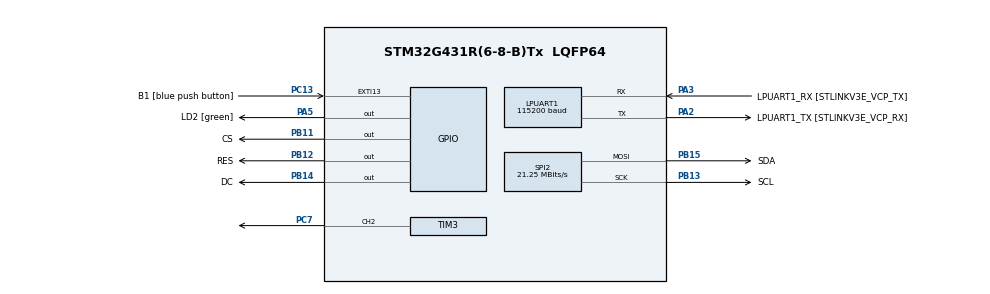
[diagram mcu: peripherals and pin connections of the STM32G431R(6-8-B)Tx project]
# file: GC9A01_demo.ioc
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Dma.Request0=SPI2_TX
Dma.SPI2_TX.0.Direction=DMA_MEMORY_TO_PERIPH
Dma.SPI2_TX.0.EventEnable=DISABLE
Dma.SPI2_TX.0.Instance=DMA1_Channel1
Dma.SPI2_TX.0.MemDataAlignment=DMA_MDATAALIGN_HALFWORD
Dma.SPI2_TX.0.MemInc=DMA_MINC_ENABLE
Dma.SPI2_TX.0.Mode=DMA_NORMAL
Dma.SPI2_TX.0.PeriphDataAlignment=DMA_PDATAALIGN_HALFWORD
Dma.SPI2_TX.0.PeriphInc=DMA_PINC_DISABLE
Dma.SPI2_TX.0.Polarity=HAL_DMAMUX_REQ_GEN_RISING
Dma.SPI2_TX.0.Priority=DMA_PRIORITY_LOW
Dma.SPI2_TX.0.RequestNumber=1
Dma.SPI2_TX.0.SignalID=NONE
Dma.SPI2_TX.0.SyncEnable=DISABLE
Dma.SPI2_TX.0.SyncPolarity=HAL_DMAMUX_SYNC_NO_EVENT
Dma.SPI2_TX.0.SyncRequestNumber=1
Dma.SPI2_TX.0.SyncSignalID=NONE
LPUART1.BaudRate=115200
LPUART1.WordLength=UART_WORDLENGTH_8B
Mcu.Family=STM32G4
Mcu.Name=STM32G431R(6-8-B)Tx
Mcu.Package=LQFP64
NVIC.DMA1_Channel1_IRQn=true\:0\:0\:false\:false\:true\:false\:true
NVIC.PriorityGroup=NVIC_PRIORITYGROUP_4
PA13.GPIO_Label=T_SWDIO
PA13.Mode=Serial_Wire
PA13.Signal=SYS_JTMS-SWDIO
PA14.GPIO_Label=T_SWCLK
PA14.Mode=Serial_Wire
PA14.Signal=SYS_JTCK-SWCLK
PA2.GPIO_Label=LPUART1_TX [STLINKV3E_VCP_RX]
PA2.Mode=Asynchronous
PA2.Signal=LPUART1_TX
PA3.GPIO_Label=LPUART1_RX [STLINKV3E_VCP_TX]
PA3.Mode=Asynchronous
PA3.Signal=LPUART1_RX
PA5.GPIO_Label=LD2 [green]
PA5.Signal=GPIO_Output
PB11.GPIO_Label=CS
PB11.Signal=GPIO_Output
PB12.GPIO_Label=RES
PB12.Signal=GPIO_Output
PB13.GPIO_Label=SCL
PB13.Mode=TX_Only_Simplex_Unidirect_Master
PB13.Signal=SPI2_SCK
PB14.GPIO_Label=DC
PB14.Signal=GPIO_Output
PB15.GPIO_Label=SDA
PB15.Mode=TX_Only_Simplex_Unidirect_Master
PB15.Signal=SPI2_MOSI
PB3.GPIO_Label=T_SWO
PB3.Signal=SYS_JTDO-SWO
PC13.GPIO_Label=B1 [blue push button]
PC13.Signal=GPXTI13
PC14-OSC32_IN.Mode=LSE-External-Oscillator
PC14-OSC32_IN.Signal=RCC_OSC32_IN
PC15-OSC32_OUT.Mode=LSE-External-Oscillator
PC15-OSC32_OUT.Signal=RCC_OSC32_OUT
PC7.Signal=S_TIM3_CH2
PF0-OSC_IN.Mode=HSE-External-Oscillator
PF0-OSC_IN.Signal=RCC_OSC_IN
PF1-OSC_OUT.Mode=HSE-External-Oscillator
PF1-OSC_OUT.Signal=RCC_OSC_OUT
ProjectManager.HeapSize=0x200
ProjectManager.StackSize=0x400
ProjectManager.TargetToolchain=SW4STM32
RCC.ADC12Freq_Value=170000000
RCC.AHBFreq_Value=170000000
RCC.APB1Freq_Value=170000000
RCC.APB1TimFreq_Value=170000000
RCC.APB2Freq_Value=170000000
RCC.APB2TimFreq_Value=170000000
RCC.CortexFreq_Value=170000000
RCC.EXTERNAL_CLOCK_VALUE=12288000
RCC.HCLKFreq_Value=170000000
RCC.HSE_VALUE=24000000
RCC.HSI48_VALUE=48000000
RCC.HSI_VALUE=16000000
RCC.PLLM=RCC_PLLM_DIV4
RCC.PLLN=85
RCC.RTCClockSelection=RCC_RTCCLKSOURCE_LSE
RCC.SYSCLKFreq_VALUE=170000000
RCC.SYSCLKSource=RCC_SYSCLKSOURCE_PLLCLK
RCC.USBFreq_Value=170000000
RCC.VCOOutputFreq_Value=340000000
SH.S_TIM3_CH2.0=TIM3_CH2,PWM Generation2 CH2
SPI2.BaudRatePrescaler=SPI_BAUDRATEPRESCALER_8
SPI2.CalculateBaudRate=21.25 MBits/s
SPI2.DataSize=SPI_DATASIZE_8BIT
SPI2.Direction=SPI_DIRECTION_2LINES
SPI2.Mode=SPI_MODE_MASTER
SPI2.VirtualType=VM_MASTER
TIM3.Channel-PWM\ Generation2\ CH2=TIM_CHANNEL_2
TIM3.PeriodNoDither=499
TIM3.Prescaler=1359
VP_SYS_VS_DBSignals.Mode=DisableDeadBatterySignals
board=NUCLEO-G431RB

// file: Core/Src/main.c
/* USER CODE BEGIN Header */
/**
  ******************************************************************************
  * @file           : main.c
  * @brief          : Main program body
  ******************************************************************************
  * @attention
  *
  * <h2><center>&copy; Copyright (c) 2021 STMicroelectronics.
  * All rights reserved.</center></h2>
  *
  * This software component is licensed by ST under BSD 3-Clause license,
  * the "License"; You may not use this file except in compliance with the
  * License. You may obtain a copy of the License at:
  *                        opensource.org/licenses/BSD-3-Clause
  *
  ******************************************************************************
  */
/* USER CODE END Header */
#include "main.h"
#include "dma.h"
#include "usart.h"
#include "spi.h"
#include "tim.h"
#include "gpio.h"

/* USER CODE BEGIN Includes */
#include "GC9A01.h"
#include "math.h"
/* USER CODE END Includes */

/* USER CODE BEGIN PV */
uint16_t pwm_value = 0;

// uint8_t completed = 1;

/* USER CODE END PV */

void SystemClock_Config(void);
/* USER CODE BEGIN PFP */
void setPWM(int8_t mode);

/* USER CODE END PFP */

int main(void)
{

  /* MCU Configuration--------------------------------------------------------*/

  /* Reset of all peripherals, Initializes the Flash interface and the Systick. */
  HAL_Init();

  /* Configure the system clock */
  SystemClock_Config();

  /* Initialize all configured peripherals */
  MX_GPIO_Init();
  MX_DMA_Init();
  MX_LPUART1_UART_Init();
  MX_SPI2_Init();
  MX_TIM3_Init();
  /* USER CODE BEGIN 2 */
  GC9A01_init();
  HAL_TIM_PWM_Start(&htim3, TIM_CHANNEL_2);
  TIM3->CCR2 = pwm_value;
  struct GC9A01_frame frame = {{0,0},{239,239}};
  GC9A01_set_frame(frame);
  HAL_NVIC_DisableIRQ(DMA1_Channel1_IRQn);
  /* USER CODE END 2 */

  /* Infinite loop */
  /* USER CODE BEGIN WHILE */
  while (1)
  {

    uint8_t color[3];
    // Triangle
    color[0] = 0xFF;
    color[1] = 0xFF;
    for (int x = 0; x < 240; x++) {
        for (int y = 0; y < 240; y++) {
            if (x < y) {
                color[2] = 0xFF;
            } else {
                color[2] = 0x00;
            }
            if (x == 0 && y == 0) {
                GC9A01_write(color, sizeof(color));
            } else {
                GC9A01_write_continue(color, sizeof(color));
            }
        }
    }
    setPWM(1);
    LL_mDelay(1000);
    // setPWM(0);
    // Rainbow
    float frequency = 0.026;
    for (int x = 0; x < 240; x++) {
        color[0] = sin(frequency*x + 0) * 127 + 128;
        color[1] = sin(frequency*x + 2) * 127 + 128;
        color[2] = sin(frequency*x + 4) * 127 + 128;
        for (int y = 0; y < 240; y++) {
            if (x == 0 && y == 0) {
                GC9A01_write(color, sizeof(color));
            } else {
                GC9A01_write_continue(color, sizeof(color));
            }
        }
    }
    // setPWM(1);
    LL_mDelay(1000);
    // setPWM(0);
    // Checkerboard
    for (int x = 0; x < 240; x++) {
        for (int y = 0; y < 240; y++) {
            if ((x / 10) % 2 ==  (y / 10) % 2) {
                color[0] = 0xFF;
                color[1] = 0xFF;
                color[2] = 0xFF;
            } else {
                color[0] = 0x00;
                color[1] = 0x00;
                color[2] = 0x00;
            }
            if (x == 0 && y == 0) {
                GC9A01_write(color, sizeof(color));
            } else {
                GC9A01_write_continue(color, sizeof(color));
            }
        }
    }
    // setPWM(1);
    LL_mDelay(1000);
    // setPWM(0);
    // Swiss flag
    color[0] = 0xFF;
    for (int x = 0; x < 240; x++) {
        for (int y = 0; y < 240; y++) {
            if ((x >= 1*48 && x < 4*48 && y >= 2*48 && y < 3*48) ||
                (x >= 2*48 && x < 3*48 && y >= 1*48 && y < 4*48)) {
                color[1] = 0xFF;
                color[2] = 0xFF;
            } else {
                color[1] = 0x00;
                color[2] = 0x00;
            }
            if (x == 0 && y == 0) {
                GC9A01_write(color, sizeof(color));
            } else {
                GC9A01_write_continue(color, sizeof(color));
            }
        }
    }
    // setPWM(1);
    GC9A01_write_command(0x20);
    LL_mDelay(1000);
    // setPWM(0);
    /* USER CODE END WHILE */

  }
}

void SystemClock_Config(void)
{
  LL_FLASH_SetLatency(LL_FLASH_LATENCY_4);
  while(LL_FLASH_GetLatency() != LL_FLASH_LATENCY_4)
  {
  }
  LL_PWR_EnableRange1BoostMode();
  LL_RCC_HSI_Enable();
   /* Wait till HSI is ready */
  while(LL_RCC_HSI_IsReady() != 1)
  {
  }

  LL_RCC_HSI_SetCalibTrimming(64);
  LL_RCC_PLL_ConfigDomain_SYS(LL_RCC_PLLSOURCE_HSI, LL_RCC_PLLM_DIV_4, 85, LL_RCC_PLLR_DIV_2);
  LL_RCC_PLL_EnableDomain_SYS();
  LL_RCC_PLL_Enable();
   /* Wait till PLL is ready */
  while(LL_RCC_PLL_IsReady() != 1)
  {
  }

  LL_RCC_SetSysClkSource(LL_RCC_SYS_CLKSOURCE_PLL);
  LL_RCC_SetAHBPrescaler(LL_RCC_SYSCLK_DIV_2);
   /* Wait till System clock is ready */
  while(LL_RCC_GetSysClkSource() != LL_RCC_SYS_CLKSOURCE_STATUS_PLL)
  {
  }

  /* Insure 1µs transition state at intermediate medium speed clock based on DWT */
  CoreDebug->DEMCR |= CoreDebug_DEMCR_TRCENA_Msk;
  DWT->CTRL |= DWT_CTRL_CYCCNTENA_Msk;
  DWT->CYCCNT = 0;
  while(DWT->CYCCNT < 100);
  /* Set AHB prescaler*/
  LL_RCC_SetAHBPrescaler(LL_RCC_SYSCLK_DIV_1);
  LL_RCC_SetAPB1Prescaler(LL_RCC_APB1_DIV_1);
  LL_RCC_SetAPB2Prescaler(LL_RCC_APB2_DIV_1);
  LL_SetSystemCoreClock(170000000);

   /* Update the time base */
  if (HAL_InitTick (TICK_INT_PRIORITY) != HAL_OK)
  {
    Error_Handler();
  }
  LL_RCC_SetLPUARTClockSource(LL_RCC_LPUART1_CLKSOURCE_PCLK1);
}

/* USER CODE BEGIN 4 */
void setPWM(int8_t mode) {
  if (mode==0) {
    while (pwm_value>0) {
      pwm_value += -1;
      TIM3->CCR2 = pwm_value;
      HAL_Delay(1);
    }
  } else {
      while (pwm_value<500) {
        pwm_value += 1;
        TIM3->CCR2 = pwm_value;
        HAL_Delay(1);
    }
  }
}
/* USER CODE END 4 */

void Error_Handler(void)
{
  __disable_irq();
  while (1)
  {
  }
}

/************************ (C) COPYRIGHT STMicroelectronics *****END OF FILE****/
